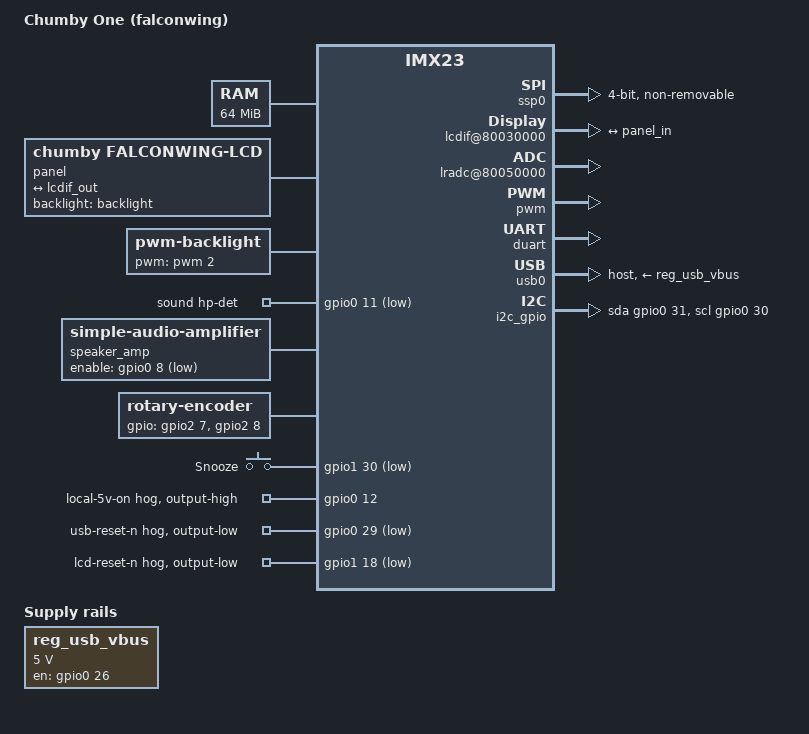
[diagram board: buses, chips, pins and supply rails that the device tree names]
// SPDX-License-Identifier: GPL-2.0-or-later
/*
 * Chumby One ("falconwing"): Freescale i.MX233, 64 MiB DDR, boots from
 * microSD through the stock chumby bootloader (zImage + appended DTB in
 * the krnA slot of partition 1).
 *
 * Hardware facts come from Chumby's 2.6.28 vendor kernel
 * (linux-2.6.28.mx233, arch/arm/mach-stmp3xxx/ and drivers).
 * Vendor GPIO notation used below: B<bank>P<pin>.
 */

/dts-v1/;
#include <dt-bindings/gpio/gpio.h>
#include <dt-bindings/input/input.h>
#include "nxp/mxs/imx23.dtsi"

/ {
	model = "Chumby One (falconwing)";
	compatible = "chumby,falconwing", "fsl,imx23";

	aliases {
		mmc0 = &ssp0;
		i2c0 = &i2c_gpio;
	};

	chosen {
		/*
		 * The stock bootloader's cmdline (console=ttyAM0, init=/linuxrc,
		 * rootfstype=ext3) is for the vendor kernel; ARM_ATAG_DTB_COMPAT
		 * is off, so these bootargs are used instead.
		 */
		/* p2 only carries the early boot and the rootfs image: init-ram
		 * mounts the image read-only as the root, then starts systemd. */
		bootargs = "console=ttyAMA0,115200 earlyprintk root=/dev/mmcblk0p2 rootfstype=ext4 rootwait rw init=/sbin/init-ram";
		stdout-path = &duart;
	};

	/*
	 * CPU frequency scaling. The bootloader runs the CPU at the Chumby
	 * One's rated 454.74 MHz (PLL 480 MHz * 18/19, DIV_CPU 1) with VDDD
	 * set for it. There is no mainline i.MX23 regulator driver to raise
	 * VDDD, so only scale *down* from there: patch 0004 restricts CPU
	 * rate changes to the integer DIV_CPU divider, and these OPPs are
	 * that rate / 1..4 (as the divider rounds them). AHB (hbus) is a
	 * fixed divider of the CPU clock and follows it down; EMI/DRAM is
	 * clocked separately and unaffected.
	 */
	cpu_opp_table: opp-table {
		compatible = "operating-points-v2";

		opp-113684211 {
			opp-hz = /bits/ 64 <113684211>;
			clock-latency-ns = <50000>;
		};

		opp-151578948 {
			opp-hz = /bits/ 64 <151578948>;
			clock-latency-ns = <50000>;
		};

		opp-227368421 {
			opp-hz = /bits/ 64 <227368421>;
			clock-latency-ns = <50000>;
		};

		opp-454736842 {
			opp-hz = /bits/ 64 <454736842>;
			clock-latency-ns = <50000>;
		};
	};

	memory@40000000 {
		device_type = "memory";
		reg = <0x40000000 0x04000000>;
	};

	apb@80000000 {
		apbh-bus@80000000 {
			/* SSP1 (ssp0 here): microSD, 4-bit. The card is the root
			 * device and never leaves while running. */
			ssp0: spi@80010000 {
				compatible = "fsl,imx23-mmc";
				pinctrl-names = "default";
				pinctrl-0 = <&mmc0_4bit_pins_a &mmc0_sck_cfg>;
				bus-width = <4>;
				non-removable;
				status = "okay";
			};

			lcdif@80030000 {
				pinctrl-names = "default";
				pinctrl-0 = <&lcdif_18bit_pins_chumby>;
				status = "okay";

				port {
					lcdif_out: endpoint {
						remote-endpoint = <&panel_in>;
					};
				};
			};

			pinctrl@80018000 {
				pinctrl-names = "default";
				pinctrl-0 = <&chumby_hog_pins>;

				/*
				 * Board power/reset lines the vendor kernel drove with raw
				 * PINCTRL writes (drivers/power/stmp37xx/linux.c,
				 * drivers/usb/host/ehci-arc.c). The bootloader leaves
				 * them configured; mux them as GPIOs so Linux owns them.
				 */
				chumby_hog_pins: chumby-hog@0 {
					reg = <0>;
					fsl,pinmux-ids = <
						MX23_PAD_GPMI_D12__GPIO_0_12	/* LOCAL_5V_ON: USB + wifi 5 V */
						MX23_PAD_AUART1_CTS__GPIO_0_26	/* USB power enable */
						MX23_PAD_AUART1_TX__GPIO_0_29	/* USB reset, active low */
						MX23_PAD_LCD_RESET__GPIO_1_18	/* panel reset, active low */
						MX23_PAD_GPMI_D08__GPIO_0_8	/* external speaker amp, high = mute */
						MX23_PAD_GPMI_D11__GPIO_0_11	/* headphone detect, low = plugged */
					>;
					fsl,drive-strength = <MXS_DRIVE_4mA>;
					fsl,voltage = <MXS_VOLTAGE_HIGH>;
					fsl,pull-up = <MXS_PULL_DISABLE>;
				};

				/* 18-bit RGB666 DOTCLK panel (vendor stmp378x_lcd_pins
				 * minus the GPMI_D08-13 upper bits, which Chumby uses as
				 * GPIOs). */
				lcdif_18bit_pins_chumby: lcdif-18bit-chumby@0 {
					reg = <0>;
					fsl,pinmux-ids = <
						MX23_PAD_LCD_D00__LCD_D00
						MX23_PAD_LCD_D01__LCD_D01
						MX23_PAD_LCD_D02__LCD_D02
						MX23_PAD_LCD_D03__LCD_D03
						MX23_PAD_LCD_D04__LCD_D04
						MX23_PAD_LCD_D05__LCD_D05
						MX23_PAD_LCD_D06__LCD_D06
						MX23_PAD_LCD_D07__LCD_D07
						MX23_PAD_LCD_D08__LCD_D08
						MX23_PAD_LCD_D09__LCD_D09
						MX23_PAD_LCD_D10__LCD_D10
						MX23_PAD_LCD_D11__LCD_D11
						MX23_PAD_LCD_D12__LCD_D12
						MX23_PAD_LCD_D13__LCD_D13
						MX23_PAD_LCD_D14__LCD_D14
						MX23_PAD_LCD_D15__LCD_D15
						MX23_PAD_LCD_D16__LCD_D16
						MX23_PAD_LCD_D17__LCD_D17
						MX23_PAD_LCD_DOTCK__LCD_DOTCK
						MX23_PAD_LCD_ENABLE__LCD_ENABLE
						MX23_PAD_LCD_HSYNC__LCD_HSYNC
						MX23_PAD_LCD_VSYNC__LCD_VSYNC
					>;
					fsl,drive-strength = <MXS_DRIVE_12mA>;
					fsl,voltage = <MXS_VOLTAGE_HIGH>;
					fsl,pull-up = <MXS_PULL_DISABLE>;
				};

				/* Knob: the vendor kernel used the TIMROT hardware
				 * quadrature decoder on ROTARYA/B, which has no mainline
				 * driver; read the same pins as GPIOs instead. */
				/* I2C_SCL/SDA (B0P30/31) as GPIOs for i2c-gpio. */
				i2c_gpio_pins: i2c-gpio@0 {
					reg = <0>;
					fsl,pinmux-ids = <
						MX23_PAD_I2C_SCL__GPIO_0_30
						MX23_PAD_I2C_SDA__GPIO_0_31
					>;
					fsl,drive-strength = <MXS_DRIVE_8mA>;
					fsl,voltage = <MXS_VOLTAGE_HIGH>;
					fsl,pull-up = <MXS_PULL_ENABLE>;
				};

				rotary_pins: rotary@0 {
					reg = <0>;
					fsl,pinmux-ids = <
						MX23_PAD_ROTARYA__GPIO_2_7
						MX23_PAD_ROTARYB__GPIO_2_8
					>;
					fsl,drive-strength = <MXS_DRIVE_4mA>;
					fsl,voltage = <MXS_VOLTAGE_HIGH>;
					fsl,pull-up = <MXS_PULL_DISABLE>;
				};

				/* Snooze button on top of the case: the vendor
				 * chumby_bend driver ("2.3-Falconwing") read it as
				 * B1P30 (the PWM4 pad), low = pressed. */
				snooze_pins: snooze@0 {
					reg = <0>;
					fsl,pinmux-ids = <
						MX23_PAD_PWM4__GPIO_1_30
					>;
					fsl,drive-strength = <MXS_DRIVE_4mA>;
					fsl,voltage = <MXS_VOLTAGE_HIGH>;
					fsl,pull-up = <MXS_PULL_ENABLE>;
				};
			};
		};

		apbx-bus@80040000 {
			/* I2C0 on the dedicated I2C_SCL/SDA pads (B0P30/31):
			 * QN8005 FM tuner at 0x2b (7-bit), plus the accelerometer. */
			/* The I2C block can't do the tuner's reads: see i2c_gpio. */
			i2c: i2c@80058000 {
				status = "disabled";
			};

			usbphy0: usbphy@8007c000 {
				status = "okay";
			};

			/* 4-wire resistive touchscreen on LRADC (vendor: X+ ch2,
			 * Y+ ch3), plus the general-purpose ADC channels.
			 * Settling and averaging above the driver's defaults (5 ms,
			 * 4 samples): with those, a press often began or ended on
			 * a half-scale reading (plate not yet/no longer in contact),
			 * a jump to mid-screen that sent the tap to the wrong window. */
			lradc@80050000 {
				fsl,lradc-touchscreen-wires = <4>;
				fsl,settling = <20>;	/* 0.5 ms units: 10 ms */
				fsl,ave-ctrl = <8>;
				status = "okay";
			};

			/*
			 * Built-in codec (AUDIOOUT + AUDIOIN), driven by the
			 * board's imx23-audio patch. DAI 0 = CPU, DAI 1 = codec.
			 * The FM tuner's output is wired to LINE1.
			 */
			audio: audio-out@80048000 {
				compatible = "fsl,imx23-audio";
				reg = <0x80048000 0x2000>, <0x8004c000 0x2000>,
				      <0x8005c000 0x2000>;
				reg-names = "audioout", "audioin", "rtc";
				clocks = <&clks 31>;
				clock-names = "filt";
				dmas = <&dma_apbx 0>, <&dma_apbx 1>;
				dma-names = "rx", "tx";
				#sound-dai-cells = <1>;
				status = "okay";
			};

			/* PWM2 (B1P28): backlight. */
			pwm: pwm@80064000 {
				pinctrl-names = "default";
				pinctrl-0 = <&pwm2_pins_a>;
				status = "okay";
			};

			/* DUART on PWM0/PWM1: the 115200 8N1 debug header. */
			duart: serial@80070000 {
				pinctrl-names = "default";
				pinctrl-0 = <&duart_pins_a>;
				status = "okay";
			};
		};
	};

	ahb@80080000 {
		/* Host-only port: internal hub with the wifi module and the
		 * external USB socket. */
		usb0: usb@80080000 {
			dr_mode = "host";
			vbus-supply = <&reg_usb_vbus>;
			status = "okay";
		};
	};

	panel {
		compatible = "chumby,falconwing-lcd";
		backlight = <&backlight>;

		port {
			panel_in: endpoint {
				remote-endpoint = <&lcdif_out>;
			};
		};
	};

	/*
	 * Vendor: 24 MHz / 64 / 600 = 625 Hz, active high. Levels: the panel
	 * is barely readable at 16 % duty (checked on hardware; 7 % is not),
	 * so level 1 starts there and each step is ~18 % brighter. Off is
	 * bl_power, not level 0.
	 */
	backlight: backlight {
		compatible = "pwm-backlight";
		pwms = <&pwm 2 1600000 0>;
		brightness-levels = <0 16 19 22 26 31 36 43 51 60 71 84 100>;
		default-brightness-level = <10>;
	};

	sound {
		compatible = "simple-audio-card";
		simple-audio-card,name = "Chumby One";
		simple-audio-card,widgets =
			"Speaker", "Speaker",
			"Headphone", "Headphones",
			"Line", "FM Tuner";
		simple-audio-card,routing =
			"Speaker Amp INL", "SPEAKER",
			"Speaker Amp INR", "SPEAKER",
			"Speaker", "Speaker Amp OUTL",
			"Speaker", "Speaker Amp OUTR",
			"Headphones", "HPL",
			"Headphones", "HPR",
			"LINE1L", "FM Tuner",
			"LINE1R", "FM Tuner";
		simple-audio-card,hp-det-gpios = <&gpio0 11 GPIO_ACTIVE_LOW>;
		simple-audio-card,aux-devs = <&speaker_amp>;

		simple-audio-card,cpu {
			sound-dai = <&audio 0>;
		};

		simple-audio-card,codec {
			sound-dai = <&audio 1>;
		};
	};

	/* External speaker amplifier behind the codec's speaker output
	 * (vendor stmp3xxx_dai.c: B0P8 high = muted). */
	speaker_amp: audio-amplifier {
		compatible = "simple-audio-amplifier";
		enable-gpios = <&gpio0 8 GPIO_ACTIVE_LOW>;
		sound-name-prefix = "Speaker Amp";
	};

	/*
	 * I2C0 on the dedicated I2C_SCL/SDA pads, bit-banged: QN8005 FM
	 * tuner at 0x2b (7-bit), MMA7455 accelerometer at 0x1d, EEPROM.
	 * The tuner's register read is not standard I2C: START, address with
	 * the read bit, the register number written, then the data read, with
	 * no repeated start (the vendor kernel special-cased it). Only the
	 * bit-banging algorithm can do that (I2C_M_REV_DIR_ADDR +
	 * I2C_M_NOSTART); i2c-mxs NAKs. ~100 kHz.
	 */
	i2c_gpio: i2c {
		compatible = "i2c-gpio";
		pinctrl-names = "default";
		pinctrl-0 = <&i2c_gpio_pins>;
		sda-gpios = <&gpio0 31 (GPIO_ACTIVE_HIGH | GPIO_OPEN_DRAIN)>;
		scl-gpios = <&gpio0 30 (GPIO_ACTIVE_HIGH | GPIO_OPEN_DRAIN)>;
		i2c-gpio,delay-us = <5>;
		#address-cells = <1>;
		#size-cells = <0>;
	};

	rotary {
		compatible = "rotary-encoder";
		pinctrl-names = "default";
		pinctrl-0 = <&rotary_pins>;
		gpios = <&gpio2 7 GPIO_ACTIVE_HIGH>, <&gpio2 8 GPIO_ACTIVE_HIGH>;
		linux,axis = <REL_WHEEL>;	/* what the vendor rotdec reported */
		rotary-encoder,relative-axis;
	};

	/* The vendor driver reported KEY_ENTER; the shell finds the device by
	 * its "snooze" name, and chumby-wm keeps it away from apps. */
	gpio-keys {
		compatible = "gpio-keys";
		label = "snooze";
		pinctrl-names = "default";
		pinctrl-0 = <&snooze_pins>;

		button-snooze {
			label = "Snooze";
			gpios = <&gpio1 30 GPIO_ACTIVE_LOW>;
			linux,code = <KEY_PROG1>;
			debounce-interval = <20>;
		};
	};

	/*
	 * B0P26 high powers the USB port/hub (vendor ehci-arc power-cycles it
	 * low -> high before probing, which also helps the wifi enumerate).
	 * Not boot-on, so the regulator core reproduces that power cycle.
	 */
	reg_usb_vbus: regulator-usb-vbus {
		compatible = "regulator-fixed";
		regulator-name = "usb_vbus";
		regulator-min-microvolt = <5000000>;
		regulator-max-microvolt = <5000000>;
		gpio = <&gpio0 26 GPIO_ACTIVE_HIGH>;
		enable-active-high;
		startup-delay-us = <100000>;
	};
};

&gpio0 {
	local-5v-on-hog {
		gpio-hog;
		gpios = <12 GPIO_ACTIVE_HIGH>;
		output-high;
		line-name = "local-5v-on";
	};

	usb-reset-hog {
		gpio-hog;
		gpios = <29 GPIO_ACTIVE_LOW>;
		output-low;	/* deasserted */
		line-name = "usb-reset-n";
	};
};

&gpio1 {
	/* Keep the panel out of reset: the bootloader initialised it and
	 * mxsfb's LCDIF block reset would otherwise drive LCD_RESET low. */
	lcd-reset-hog {
		gpio-hog;
		gpios = <18 GPIO_ACTIVE_LOW>;
		output-low;	/* deasserted */
		line-name = "lcd-reset-n";
	};
};

&{/cpus/cpu@0} {
	clocks = <&clks 11>;	/* "cpu" */
	operating-points-v2 = <&cpu_opp_table>;
};
